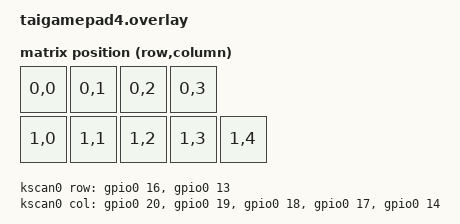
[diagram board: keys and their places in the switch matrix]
/*
 */
 
 #include <dt-bindings/zmk/matrix_transform.h>

/ {
    chosen {
        zmk,kscan = &kscan0;
        zmk,matrix_transform = &default_transform;
	/delete-property/ zephyr,console;
	/delete-property/ zephyr,shell-uart;
    };

    default_transform: keymap_transform_0 {
        compatible = "zmk,matrix-transform";
        columns = <5>;
        rows = <2>;
        map = <
            RC(0,0) RC(0,1) RC(0,2) RC(0,3)
            RC(1,0) RC(1,1) RC(1,2) RC(1,3) RC(1,4)
        >;
    };

    kscan0: kscan_0 {
        compatible = "zmk,kscan-gpio-matrix";
        label = "KSCAN";
        diode-direction = "col2row";

        col-gpios
            = <&gpio0 20 GPIO_ACTIVE_HIGH>
            , <&gpio0 19 GPIO_ACTIVE_HIGH>
            , <&gpio0 18 GPIO_ACTIVE_HIGH>
            , <&gpio0 17 GPIO_ACTIVE_HIGH>
            , <&gpio0 14 GPIO_ACTIVE_HIGH>

            ;

        row-gpios
            = <&gpio0 16 (GPIO_ACTIVE_HIGH | GPIO_PULL_DOWN)>
            , <&gpio0 13 (GPIO_ACTIVE_HIGH | GPIO_PULL_DOWN)>
            ;
    };
};

